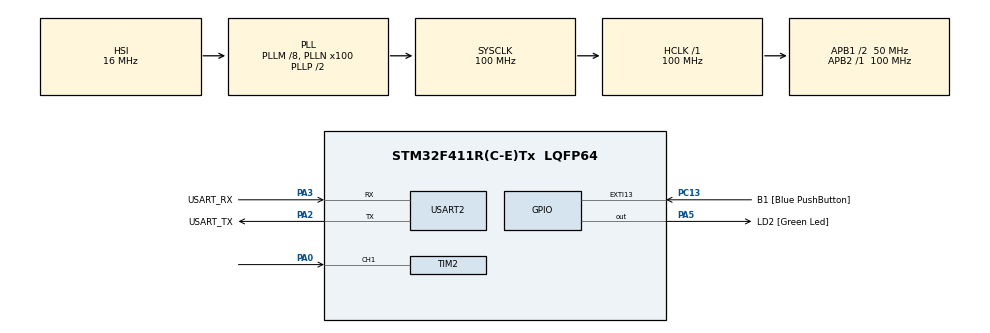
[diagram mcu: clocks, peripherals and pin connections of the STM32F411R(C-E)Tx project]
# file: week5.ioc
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Dma.Request0=TIM2_CH1
Dma.TIM2_CH1.0.Direction=DMA_PERIPH_TO_MEMORY
Dma.TIM2_CH1.0.FIFOMode=DMA_FIFOMODE_DISABLE
Dma.TIM2_CH1.0.Instance=DMA1_Stream5
Dma.TIM2_CH1.0.MemDataAlignment=DMA_MDATAALIGN_WORD
Dma.TIM2_CH1.0.MemInc=DMA_MINC_ENABLE
Dma.TIM2_CH1.0.Mode=DMA_CIRCULAR
Dma.TIM2_CH1.0.PeriphDataAlignment=DMA_PDATAALIGN_WORD
Dma.TIM2_CH1.0.PeriphInc=DMA_PINC_DISABLE
Dma.TIM2_CH1.0.Priority=DMA_PRIORITY_LOW
Mcu.Family=STM32F4
Mcu.Name=STM32F411R(C-E)Tx
Mcu.Package=LQFP64
NVIC.DMA1_Stream5_IRQn=true\:0\:0\:false\:false\:true\:false\:true
NVIC.PriorityGroup=NVIC_PRIORITYGROUP_0
NVIC.TIM2_IRQn=true\:0\:0\:false\:false\:true\:true\:true
NVIC.TIM5_IRQn=true\:0\:0\:false\:false\:true\:true\:true
PA0-WKUP.Signal=S_TIM2_CH1_ETR
PA13.GPIO_Label=TMS
PA13.Mode=Serial_Wire
PA13.Signal=SYS_JTMS-SWDIO
PA14.GPIO_Label=TCK
PA14.Mode=Serial_Wire
PA14.Signal=SYS_JTCK-SWCLK
PA2.GPIO_Label=USART_TX
PA2.Mode=Asynchronous
PA2.Signal=USART2_TX
PA3.GPIO_Label=USART_RX
PA3.Mode=Asynchronous
PA3.Signal=USART2_RX
PA5.GPIO_Label=LD2 [Green Led]
PA5.Signal=GPIO_Output
PB3.GPIO_Label=SWO
PB3.Signal=SYS_JTDO-SWO
PC13-ANTI_TAMP.GPIO_Label=B1 [Blue PushButton]
PC13-ANTI_TAMP.GPIO_ModeDefaultEXTI=GPIO_MODE_IT_FALLING
PC13-ANTI_TAMP.Signal=GPXTI13
PC14-OSC32_IN.Mode=LSE-External-Oscillator
PC14-OSC32_IN.Signal=RCC_OSC32_IN
PC15-OSC32_OUT.Mode=LSE-External-Oscillator
PC15-OSC32_OUT.Signal=RCC_OSC32_OUT
PH0\ -\ OSC_IN.Mode=HSE-External-Clock-Source
PH0\ -\ OSC_IN.Signal=RCC_OSC_IN
PH1\ -\ OSC_OUT.Mode=HSE-External-Clock-Source
PH1\ -\ OSC_OUT.Signal=RCC_OSC_OUT
ProjectManager.HeapSize=0x200
ProjectManager.StackSize=0x400
ProjectManager.TargetToolchain=STM32CubeIDE
RCC.48MHZClocksFreq_Value=50000000
RCC.AHBFreq_Value=100000000
RCC.APB1CLKDivider=RCC_HCLK_DIV2
RCC.APB1Freq_Value=50000000
RCC.APB1TimFreq_Value=100000000
RCC.APB2Freq_Value=100000000
RCC.APB2TimFreq_Value=100000000
RCC.CortexFreq_Value=100000000
RCC.FLatency-AdvancedSettings=FLASH_LATENCY_3
RCC.HCLKFreq_Value=100000000
RCC.HSE_VALUE=8000000
RCC.HSI_VALUE=16000000
RCC.PLLM=8
RCC.PLLN=100
RCC.SYSCLKFreq_VALUE=100000000
RCC.SYSCLKSource=RCC_SYSCLKSOURCE_PLLCLK
RCC.VCOOutputFreq_Value=200000000
SH.S_TIM2_CH1_ETR.0=TIM2_CH1,Input_Capture1_from_TI1
TIM2.Channel-Input_Capture1_from_TI1=TIM_CHANNEL_1
TIM2.ICFilter_CH1=2
TIM2.Period=4294967295
TIM2.Prescaler=99
TIM5.Prescaler=99
USART2.VirtualMode=VM_ASYNC
VP_TIM2_VS_ClockSourceINT.Mode=Internal
VP_TIM5_VS_OPM.Mode=OPM_bit
board=NUCLEO-F411RE

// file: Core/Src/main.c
/* USER CODE BEGIN Header */
/**
  ****************************************************************************
  * @file           : main.c
  * @brief          : Main program body
  ****************************************************************************
  * @attention
  *
  * <h2><center>&copy; Copyright (c) 2021 STMicroelectronics.
  * All rights reserved.</center></h2>
  *
  * This software component is licensed by ST under BSD 3-Clause license,
  * the "License"; You may not use this file except in compliance with the
  * License. You may obtain a copy of the License at:
  *                        opensource.org/licenses/BSD-3-Clause
  *
  ****************************************************************************
  */
/* USER CODE END Header */
#include "main.h"

TIM_HandleTypeDef htim2;
TIM_HandleTypeDef htim5;
DMA_HandleTypeDef hdma_tim2_ch1;

UART_HandleTypeDef huart2;

/* USER CODE BEGIN PV */
uint32_t _micros;
uint32_t timeset = 0;
uint32_t test[4] = {0};
int capturedata[16] = {0};
int sum=0;
float mean=0;
float rpm=0;
float f=0;
float t=0;
int gab=0;
/* USER CODE END PV */

void SystemClock_Config(void);
static void MX_GPIO_Init(void);
static void MX_DMA_Init(void);
static void MX_USART2_UART_Init(void);
static void MX_TIM2_Init(void);
static void MX_TIM5_Init(void);
/* USER CODE BEGIN PFP */
uint64_t micros();
void rpmcheck();
void rpmcal();
void light();
/* USER CODE END PFP */

int main(void)
{

  /* MCU Configuration--------------------------------------------------------*/

  /* Reset of all peripherals, Initializes the Flash interface and the Systick. */
  HAL_Init();

  /* Configure the system clock */
  SystemClock_Config();

  /* Initialize all configured peripherals */
  MX_GPIO_Init();
  MX_DMA_Init();
  MX_USART2_UART_Init();
  MX_TIM2_Init();
  MX_TIM5_Init();
  /* USER CODE BEGIN 2 */
  HAL_TIM_Base_Start_IT(&htim5);
  HAL_TIM_Base_Start(&htim2);
  HAL_TIM_IC_Start_DMA(&htim2, TIM_CHANNEL_1, (uint32_t*)capturedata, 16);
  /* USER CODE END 2 */

  /* Infinite loop */
  /* USER CODE BEGIN WHILE */
  while (1)
  {
	  light();
	  rpmcheck();
	  rpmcal();
    /* USER CODE END WHILE */

  }
}

void SystemClock_Config(void)
{
  RCC_OscInitTypeDef RCC_OscInitStruct = {0};
  RCC_ClkInitTypeDef RCC_ClkInitStruct = {0};

  /** Configure the main internal regulator output voltage
  */
  __HAL_RCC_PWR_CLK_ENABLE();
  __HAL_PWR_VOLTAGESCALING_CONFIG(PWR_REGULATOR_VOLTAGE_SCALE1);
  /** Initializes the RCC Oscillators according to the specified parameters
  * in the RCC_OscInitTypeDef structure.
  */
  RCC_OscInitStruct.OscillatorType = RCC_OSCILLATORTYPE_HSI;
  RCC_OscInitStruct.HSIState = RCC_HSI_ON;
  RCC_OscInitStruct.HSICalibrationValue = RCC_HSICALIBRATION_DEFAULT;
  RCC_OscInitStruct.PLL.PLLState = RCC_PLL_ON;
  RCC_OscInitStruct.PLL.PLLSource = RCC_PLLSOURCE_HSI;
  RCC_OscInitStruct.PLL.PLLM = 8;
  RCC_OscInitStruct.PLL.PLLN = 100;
  RCC_OscInitStruct.PLL.PLLP = RCC_PLLP_DIV2;
  RCC_OscInitStruct.PLL.PLLQ = 4;
  if (HAL_RCC_OscConfig(&RCC_OscInitStruct) != HAL_OK)
  {
    Error_Handler();
  }
  /** Initializes the CPU, AHB and APB buses clocks
  */
  RCC_ClkInitStruct.ClockType = RCC_CLOCKTYPE_HCLK|RCC_CLOCKTYPE_SYSCLK
                              |RCC_CLOCKTYPE_PCLK1|RCC_CLOCKTYPE_PCLK2;
  RCC_ClkInitStruct.SYSCLKSource = RCC_SYSCLKSOURCE_PLLCLK;
  RCC_ClkInitStruct.AHBCLKDivider = RCC_SYSCLK_DIV1;
  RCC_ClkInitStruct.APB1CLKDivider = RCC_HCLK_DIV2;
  RCC_ClkInitStruct.APB2CLKDivider = RCC_HCLK_DIV1;

  if (HAL_RCC_ClockConfig(&RCC_ClkInitStruct, FLASH_LATENCY_3) != HAL_OK)
  {
    Error_Handler();
  }
}

static void MX_TIM2_Init(void)
{

  TIM_ClockConfigTypeDef sClockSourceConfig = {0};
  TIM_MasterConfigTypeDef sMasterConfig = {0};
  TIM_IC_InitTypeDef sConfigIC = {0};

  htim2.Instance = TIM2;
  htim2.Init.Prescaler = 99;
  htim2.Init.CounterMode = TIM_COUNTERMODE_UP;
  htim2.Init.Period = 4294967295;
  htim2.Init.ClockDivision = TIM_CLOCKDIVISION_DIV1;
  htim2.Init.AutoReloadPreload = TIM_AUTORELOAD_PRELOAD_DISABLE;
  if (HAL_TIM_Base_Init(&htim2) != HAL_OK)
  {
    Error_Handler();
  }
  sClockSourceConfig.ClockSource = TIM_CLOCKSOURCE_INTERNAL;
  if (HAL_TIM_ConfigClockSource(&htim2, &sClockSourceConfig) != HAL_OK)
  {
    Error_Handler();
  }
  if (HAL_TIM_IC_Init(&htim2) != HAL_OK)
  {
    Error_Handler();
  }
  sMasterConfig.MasterOutputTrigger = TIM_TRGO_RESET;
  sMasterConfig.MasterSlaveMode = TIM_MASTERSLAVEMODE_DISABLE;
  if (HAL_TIMEx_MasterConfigSynchronization(&htim2, &sMasterConfig) != HAL_OK)
  {
    Error_Handler();
  }
  sConfigIC.ICPolarity = TIM_INPUTCHANNELPOLARITY_RISING;
  sConfigIC.ICSelection = TIM_ICSELECTION_DIRECTTI;
  sConfigIC.ICPrescaler = TIM_ICPSC_DIV1;
  sConfigIC.ICFilter = 2;
  if (HAL_TIM_IC_ConfigChannel(&htim2, &sConfigIC, TIM_CHANNEL_1) != HAL_OK)
  {
    Error_Handler();
  }

}

static void MX_TIM5_Init(void)
{

  htim5.Instance = TIM5;
  htim5.Init.Prescaler = 99;
  htim5.Init.CounterMode = TIM_COUNTERMODE_UP;
  htim5.Init.Period = 4294967295;
  htim5.Init.ClockDivision = TIM_CLOCKDIVISION_DIV1;
  htim5.Init.AutoReloadPreload = TIM_AUTORELOAD_PRELOAD_DISABLE;
  if (HAL_TIM_OnePulse_Init(&htim5, TIM_OPMODE_SINGLE) != HAL_OK)
  {
    Error_Handler();
  }

}

static void MX_USART2_UART_Init(void)
{

  huart2.Instance = USART2;
  huart2.Init.BaudRate = 115200;
  huart2.Init.WordLength = UART_WORDLENGTH_8B;
  huart2.Init.StopBits = UART_STOPBITS_1;
  huart2.Init.Parity = UART_PARITY_NONE;
  huart2.Init.Mode = UART_MODE_TX_RX;
  huart2.Init.HwFlowCtl = UART_HWCONTROL_NONE;
  huart2.Init.OverSampling = UART_OVERSAMPLING_16;
  if (HAL_UART_Init(&huart2) != HAL_OK)
  {
    Error_Handler();
  }

}

static void MX_DMA_Init(void)
{

  /* DMA controller clock enable */
  __HAL_RCC_DMA1_CLK_ENABLE();

  /* DMA interrupt init */
  /* DMA1_Stream5_IRQn interrupt configuration */
  HAL_NVIC_SetPriority(DMA1_Stream5_IRQn, 0, 0);
  HAL_NVIC_EnableIRQ(DMA1_Stream5_IRQn);

}

static void MX_GPIO_Init(void)
{
  GPIO_InitTypeDef GPIO_InitStruct = {0};

  /* GPIO Ports Clock Enable */
  __HAL_RCC_GPIOC_CLK_ENABLE();
  __HAL_RCC_GPIOH_CLK_ENABLE();
  __HAL_RCC_GPIOA_CLK_ENABLE();
  __HAL_RCC_GPIOB_CLK_ENABLE();

  /*Configure GPIO pin Output Level */
  HAL_GPIO_WritePin(LD2_GPIO_Port, LD2_Pin, GPIO_PIN_RESET);

  /*Configure GPIO pin : B1_Pin */
  GPIO_InitStruct.Pin = B1_Pin;
  GPIO_InitStruct.Mode = GPIO_MODE_IT_FALLING;
  GPIO_InitStruct.Pull = GPIO_NOPULL;
  HAL_GPIO_Init(B1_GPIO_Port, &GPIO_InitStruct);

  /*Configure GPIO pin : LD2_Pin */
  GPIO_InitStruct.Pin = LD2_Pin;
  GPIO_InitStruct.Mode = GPIO_MODE_OUTPUT_PP;
  GPIO_InitStruct.Pull = GPIO_NOPULL;
  GPIO_InitStruct.Speed = GPIO_SPEED_FREQ_LOW;
  HAL_GPIO_Init(LD2_GPIO_Port, &GPIO_InitStruct);

}

/* USER CODE BEGIN 4 */
uint64_t micros()
{
	return _micros + htim5.Instance->CNT;
}
void HAL_TIM_PeriodElapsedCallback(TIM_HandleTypeDef *htim)
{
	if(htim == &htim5)
	{
		_micros += 4294967295;
	}
}
void light()
{
	if(micros() - timeset >= 200*1000/2){
		HAL_GPIO_TogglePin(GPIOA, GPIO_PIN_5);
		timeset = micros();
		test[0]+=1;
	}
}
void rpmcheck(){
	for(int i=1;i<16;i+=1){
		gab = (capturedata[i] - capturedata[i-1]);
		if(gab>0){
			sum+=gab;
		}
	}
	mean = sum/15;
	sum = 0;
}
void rpmcal(){
	t = mean*0.000001; // sec
	f = (1/t)*0.001; //to khz
	rpm = (f*60*1000)/(12*60);
}
/* USER CODE END 4 */

void Error_Handler(void)
{
  __disable_irq();
  while (1)
  {
  }
}

/************************ (C) COPYRIGHT STMicroelectronics *****END OF FILE****/
